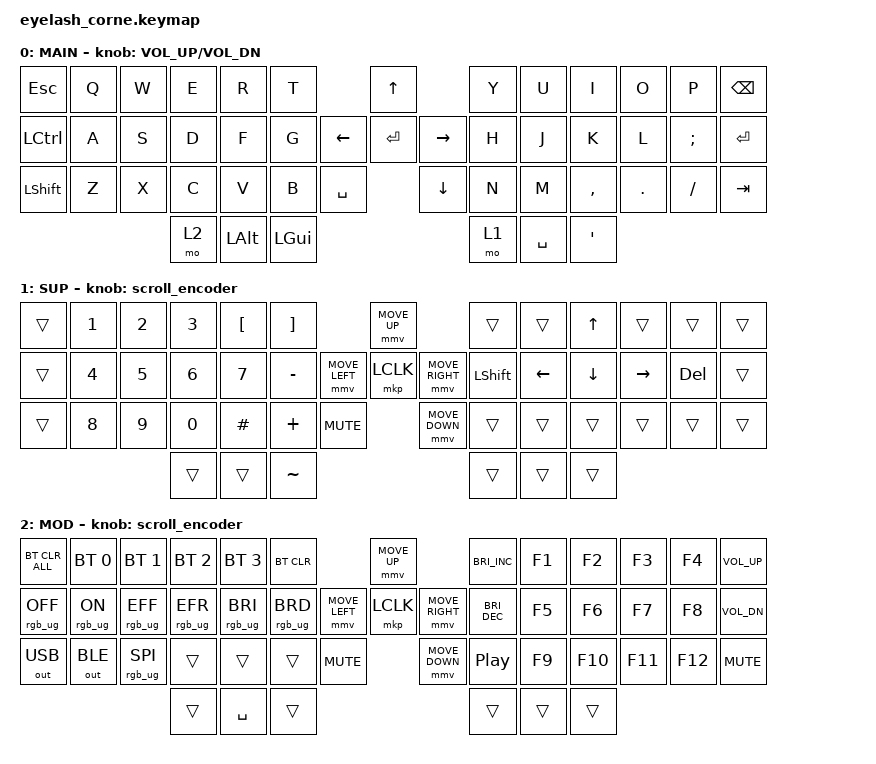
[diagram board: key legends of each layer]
#define ZMK_POINTING_DEFAULT_MOVE_VAL 1200  // 600
#define ZMK_POINTING_DEFAULT_SCRL_VAL 25   // 10

// includes
#include <input/processors.dtsi>
#include <zephyr/dt-bindings/input/input-event-codes.h>
#include <behaviors.dtsi>
#include <dt-bindings/zmk/bt.h>
#include <dt-bindings/zmk/keys.h>
#include <dt-bindings/zmk/outputs.h>
#include <dt-bindings/zmk/pointing.h>
#include <dt-bindings/zmk/rgb.h>

&mmv_input_listener { input-processors = <&zip_xy_scaler 2 1>; };

&msc_input_listener { input-processors = <&zip_scroll_scaler 2 1>; };

&msc {
    acceleration-exponent = <1>;
    time-to-max-speed-ms = <100>;
    delay-ms = <0>;
};

&mmv {
    time-to-max-speed-ms = <500>;
    acceleration-exponent = <1>;
    trigger-period-ms = <16>;
};

&soft_off { hold-time-ms = <2000>; };

/ {
    rgb_encoder: rgb_encoder {
        compatible = "zmk,behavior-sensor-rotate";
        #sensor-binding-cells = <0>;
        bindings = <&rgb_ug RGB_BRI>, <&rgb_ug RGB_BRD>;
    };

    scroll_encoder: scroll_encoder {
        compatible = "zmk,behavior-sensor-rotate";
        #sensor-binding-cells = <0>;
        bindings = <&msc SCRL_DOWN>, <&msc SCRL_UP>;
        tap-ms = <100>;
    };

    combos {
        compatible = "zmk,combos";

        softoff {
            bindings = <&soft_off>;
            key-positions = <1 15 29>;
        };
    };

    keymap {
        compatible = "zmk,keymap";

        MAIN {
            display-name = "MAIN";
            bindings = <
&kp ESC    &kp Q  &kp W  &kp E     &kp R     &kp T                                &kp UP                 &kp Y   &kp U      &kp I      &kp O    &kp P     &kp BSPC
&kp LCTRL  &kp A  &kp S  &kp D     &kp F     &kp G                      &kp LEFT   &kp ENTER  &kp RIGHT  &kp H   &kp J      &kp K      &kp L    &kp SEMI  &kp ENTER
&kp LSHFT  &kp Z  &kp X  &kp C     &kp V     &kp B       &kp SPACE                &kp DOWN               &kp N   &kp M      &kp COMMA  &kp DOT  &kp FSLH  &kp TAB
                          &mo 2     &kp LALT  &kp LGUI                                                    &mo 1   &kp SPACE  &kp SQT
            >;

            sensor-bindings = <&inc_dec_kp C_VOLUME_UP C_VOL_DN>;
        };

        SUP {
            display-name = "SUP";
            bindings = <
&trans  &kp N1  &kp N2  &kp N3    &kp LBKT  &kp RBKT                                  &mmv MOVE_UP                     &trans     &trans     &kp UP    &trans     &trans    &trans
&trans  &kp N4  &kp N5  &kp N6    &kp N7    &kp MINUS                   &mmv MOVE_LEFT  &mkp LCLK       &mmv MOVE_RIGHT  &kp LSHFT  &kp LEFT   &kp DOWN  &kp RIGHT  &kp DEL  &trans
&trans  &kp N8  &kp N9  &kp N0    &kp HASH  &kp PLUS    &kp C_MUTE                    &mmv MOVE_DOWN                   &trans     &trans     &trans    &trans     &trans    &trans
                        &trans    &trans    &kp TILDE                                                                   &trans     &trans     &trans
            >;

            sensor-bindings = <&scroll_encoder>;
        };

        MOD {
            display-name = "MOD";
            bindings = <
&bt BT_CLR_ALL  &bt BT_SEL 0    &bt BT_SEL 1  &bt BT_SEL 2  &bt BT_SEL 3  &bt BT_CLR                                    &mmv MOVE_UP                     &kp C_BRI_INC  &kp F1         &kp F2   &kp F3   &kp F4   &kp C_VOL_UP
&rgb_ug RGB_OFF &rgb_ug RGB_ON  &rgb_ug RGB_EFF &rgb_ug RGB_EFR &rgb_ug RGB_BRI &rgb_ug RGB_BRD            &mmv MOVE_LEFT  &mkp LCLK       &mmv MOVE_RIGHT  &kp C_BRI_DEC  &kp F5         &kp F6   &kp F7   &kp F8   &kp C_VOL_DN
&out OUT_USB    &out OUT_BLE    &rgb_ug RGB_SPI &trans        &trans        &trans        &kp C_MUTE                    &mmv MOVE_DOWN                   &kp C_PP       &kp F9         &kp F10  &kp F11  &kp F12  &kp C_MUTE
                        &trans    &kp SPACE  &trans                                                                   &trans         &trans         &trans
            >;

            sensor-bindings = <&scroll_encoder>;
        };
    };
};
